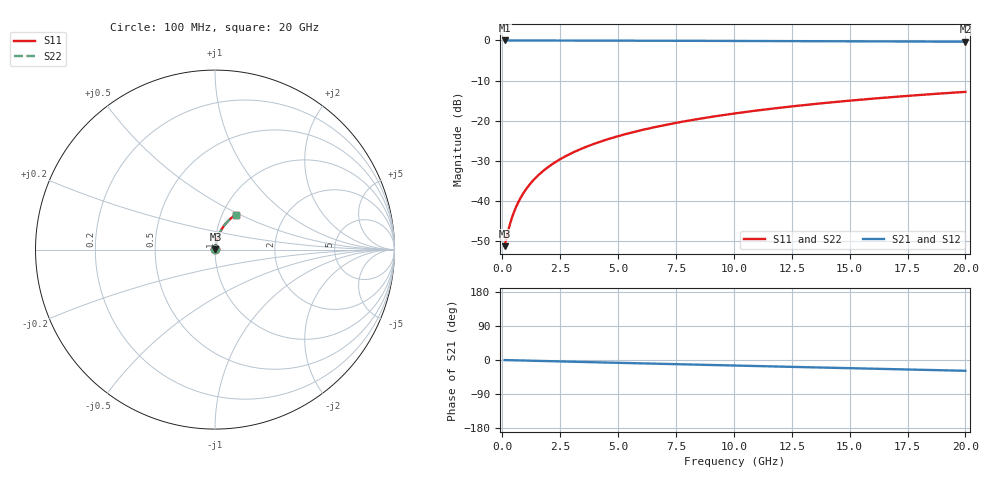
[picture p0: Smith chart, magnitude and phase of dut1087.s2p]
! Touchstone file exported from HFSS 2026.1.0
!  File:  C:/ffzhzh/LocalFiles/Ansys_Project_Files/temp_train_BSMRDL_1087_1783174531_43440.aedt
!  Generated:  10:16:41 PM Jul  4, 2026
!  Design:  BSMRDL
!  Project:  temp_train_BSMRDL_1087_1783174531_43440
! Variables:
!  h_bsmrdl = 5.88um
!  h_ox = 20um
!  h_rdl = 5um
!  h_sub = 80um
!  h_tmrdl = 5um
!  h_tsv = 80um
!  h_via = 3um
!  l_bsmrdl = 449.5um
!  l_sub = 849.5um
!  l_tmrdl = 200um
!  m_sub = 200um
!  pitch = 27.24um
!  r_tsv = 6um
!  s_tmrdl = 10um
!  w_bsmrdl = 12.09um
!  w_sub = 500um
!  w_tmrdl = 12um
!  x_tsv_center1 = 206um
!  x_tsv_center2 = 667.59um
!  x_tsv_center3 = 879.59um
!  x_tsv_center4 = 1341.18um
!  x_tsv_center5 = 1553.18um
!  x_tsv_center6 = 2014.77um
# GHz S MA R 50.000000
! Terminal data exported
! Port[1] = BSM_RDL1_1_T1
! Port[2] = BSM_RDL1_1_T2
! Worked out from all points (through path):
!   200 points, 100 MHz to 20 GHz, reference 50 ohm
!   highest |S21| = -0.02 dB at 100 MHz (marker M1); lowest = -0.3 dB at 20 GHz (marker M2)
!   group delay of S21, straight-line fit = 3.94 ps
!   lowest |S11| = -51.2 dB at 100 MHz (marker M3), VSWR 1.01, Z = 50.2 + j0.146 ohm
!   |S11| at or under -10 dB: start of sweep to end of sweep
!   |S22| runs from -51.2 to -12.8 dB; largest |S21 - S12| = 4.3e-15
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0.1  0.00274 31.9  0.9977 -0.2  0.9977 -0.2  0.00274 31.9
! Gamma 0 0 0 0
! Port Impedance 50 0 50 0
0.2  0.003691 49.0  0.9976 -0.3  0.9976 -0.3  0.003694 49.0
0.3  0.004796 58.8  0.9975 -0.5  0.9975 -0.5  0.0048 58.7
0.4  0.005987 64.8  0.9974 -0.6  0.9974 -0.6  0.005991 64.8
0.5  0.007228 68.9  0.9973 -0.8  0.9973 -0.8  0.00723 68.8
0.6  0.008497 71.6  0.9973 -0.9  0.9973 -0.9  0.008498 71.6
0.8  0.01108 75.1  0.9972 -1.2  0.9972 -1.2  0.01108 75.1
1  0.01369 77.1  0.997 -1.5  0.997 -1.5  0.01369 77.1
1.2  0.01631 78.3  0.9969 -1.8  0.9969 -1.8  0.01631 78.3
1.4  0.01893 79.0  0.9968 -2.1  0.9968 -2.1  0.01893 79.0
1.7  0.02284 79.6  0.9965 -2.6  0.9965 -2.6  0.02284 79.6
2.2  0.02931 79.9  0.9961 -3.3  0.9961 -3.3  0.02931 79.9
2.8  0.03697 79.7  0.9954 -4.2  0.9954 -4.2  0.03696 79.7
3.5  0.04576 79.2  0.9945 -5.2  0.9945 -5.2  0.04575 79.2
4.2  0.05441 78.5  0.9936 -6.3  0.9936 -6.3  0.05441 78.5
5  0.06416 77.6  0.9924 -7.4  0.9924 -7.4  0.06416 77.6
6.8  0.08566 75.5  0.9896 -10.0  0.9896 -10.0  0.08566 75.5
8.3  0.1032 73.7  0.9872 -12.2  0.9872 -12.2  0.1032 73.6
10.1  0.1238 71.4  0.984 -14.7  0.984 -14.7  0.1238 71.4
13.4  0.1604 67.2  0.9775 -19.4  0.9775 -19.4  0.1604 67.2
16.7  0.1954 63.0  0.9702 -24.0  0.9702 -24.0  0.1954 63.0
20  0.2285 58.7  0.9622 -28.5  0.9622 -28.5  0.2285 58.7
